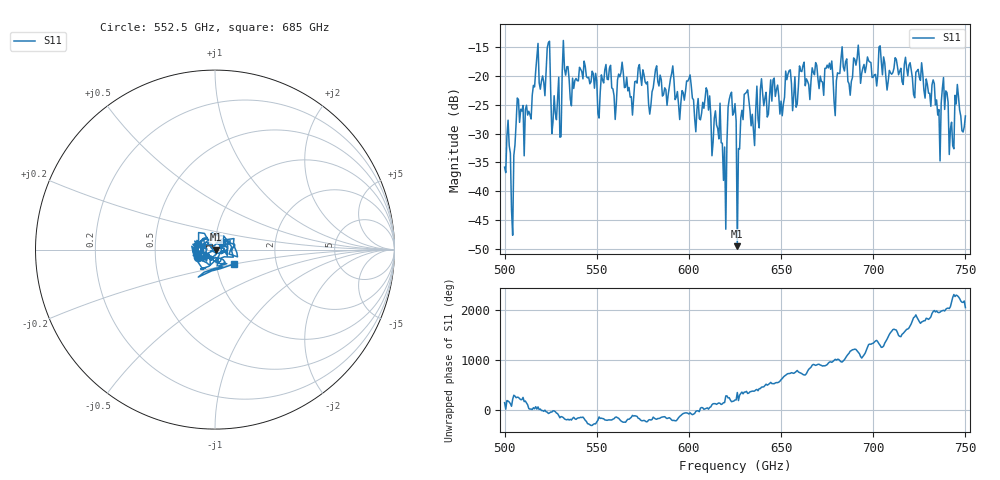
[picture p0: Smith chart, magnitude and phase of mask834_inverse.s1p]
!Created with skrf (http://scikit-rf.org).
# GHz S MA R 50.0
!freq magS11 angS11
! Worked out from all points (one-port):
!   401 points, 500 GHz to 750 GHz, reference 50 ohm
!   lowest |S11| = -49.6 dB at 626.2 GHz (marker M1), VSWR 1.01, Z = 50.3 - j0.0399 ohm
!   |S11| at or under -10 dB: start of sweep to end of sweep
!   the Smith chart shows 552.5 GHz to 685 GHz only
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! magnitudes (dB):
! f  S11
! 500 GHz  -35.8
! 504.4 GHz  -47.7
! 507.5 GHz  -24.1
! 511.9 GHz  -25.1
! 516.9 GHz  -19.1
! 523.8 GHz  -14.2
! 526.9 GHz  -23.4
! 531.2 GHz  -19.3
! 533.1 GHz  -19.9
! 559.4 GHz  -23.4
! 562.5 GHz  -20.1
! 593.8 GHz  -22.7
! 610 GHz  -22.6
! 618.8 GHz  -38.1
! 622.5 GHz  -23.3
! 625 GHz  -24.8
! 626.2 GHz  -49.6
! 631.2 GHz  -22.8
! 635 GHz  -29.4
! 656.2 GHz  -26.0
! 687.5 GHz  -23.3
! 690.6 GHz  -18.1
! 718.8 GHz  -20.0
! 735 GHz  -26.8
! 738.8 GHz  -25.8
! 742.5 GHz  -28.0
! 745.6 GHz  -21.5
! 750 GHz  -27.0
